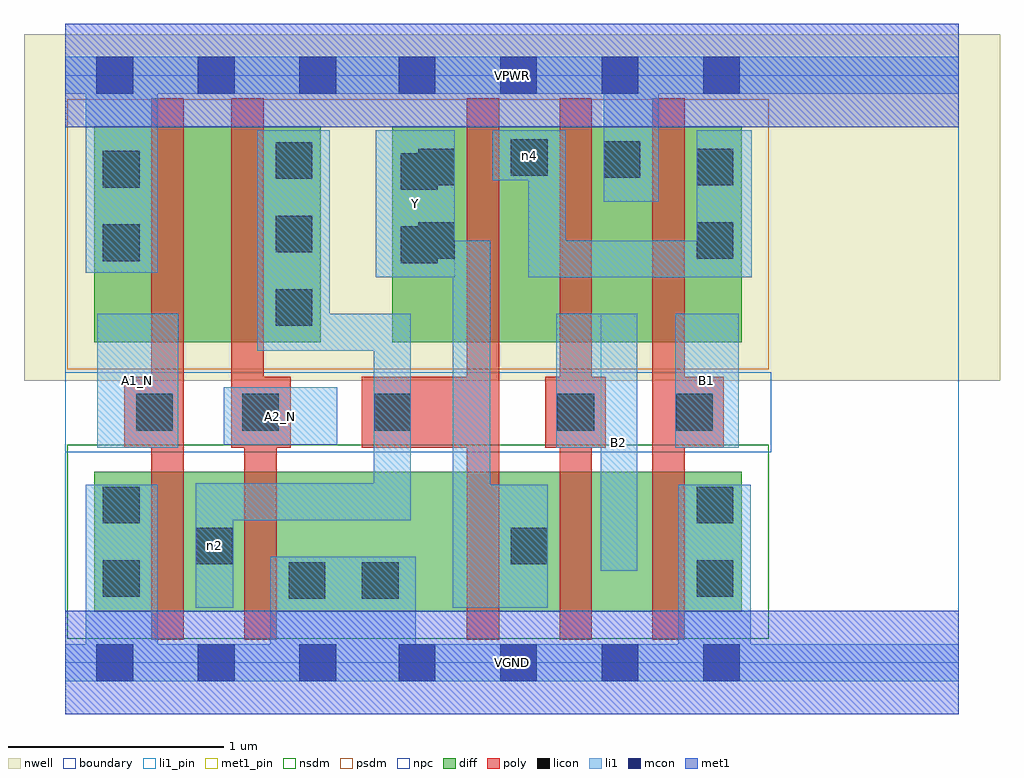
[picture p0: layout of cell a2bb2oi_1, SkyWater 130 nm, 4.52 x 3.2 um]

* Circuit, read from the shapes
.subckt a2bb2oi_1 A1_N A2_N B1 B2 VGND VPWR Y n2 n4
XM1 n2 A1_N VGND VSUBS sky130_fd_pr__nfet_01v8 w=0.65 l=0.15
XM2 VGND A2_N n2 VSUBS sky130_fd_pr__nfet_01v8 w=0.65 l=0.15
XM3 Y n2 VGND VSUBS sky130_fd_pr__nfet_01v8 w=0.65 l=0.15
XM4 n1 B2 Y VSUBS sky130_fd_pr__nfet_01v8 w=0.65 l=0.15
XM5 VGND B1 n1 VSUBS sky130_fd_pr__nfet_01v8 w=0.65 l=0.15
XM6 n3 A1_N VPWR n5 sky130_fd_pr__pfet_01v8 w=1 l=0.15
XM7 n2 A2_N n3 n5 sky130_fd_pr__pfet_01v8 w=1 l=0.15
XM8 n4 n2 Y n5 sky130_fd_pr__pfet_01v8 w=1 l=0.15
XM9 VPWR B2 n4 n5 sky130_fd_pr__pfet_01v8 w=1 l=0.15
XM10 n4 B1 VPWR n5 sky130_fd_pr__pfet_01v8 w=1 l=0.15
.ends

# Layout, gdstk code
import gdstk
lib = gdstk.Library(unit=1e-6, precision=1e-09)
def R(c, l, rs):  # rectangles x0, y0, x1, y1
    for r in rs: c.add(gdstk.rectangle(r[:2], r[2:], *l))
def A(c, l, x, y, w, h, nx, ny, dx, dy):  # array of equal rectangles
    R(c, l, [(x+i*dx, y+j*dy, x+i*dx+w, y+j*dy+h) for i in range(nx) for j in range(ny)])
nwell = (64, 20)
diff = (65, 20)
poly = (66, 20)
licon = (66, 44)
li1_pin = (67, 16)
li1 = (67, 20)
mcon = (67, 44)
met1_pin = (68, 16)
met1 = (68, 20)
nsdm = (93, 44)
psdm = (94, 20)
npc = (95, 20)
boundary = (235, 4)

a2bb2oi_1 = lib.new_cell('a2bb2oi_1')
R(a2bb2oi_1, nwell, [(-0.19,1.305,4.33,2.91), (0,1.305,4.14,2.91)])
R(a2bb2oi_1, diff, [(0.135,0.235,3.135,0.885), (0.135,1.485,1.185,2.485), (1.515,1.485,3.135,2.485)])
A(a2bb2oi_1, poly, 1.86, 0.105, 0.15, 2.51, 3, 1, 0.43, 0)
R(a2bb2oi_1, poly, [(0.4,0.105,0.55,2.615), (0.83,0.105,0.98,1.325), (0.275,0.995,0.55,1.325), (0.77,0.995,1.045,1.325), (0.77,0.995,0.92,2.615), (1.375,0.995,2.01,1.325), (2.225,0.995,2.505,1.325), (2.72,0.995,3.05,1.325)])
A(a2bb2oi_1, licon, 0.975, 1.56, 0.17, 0.17, 1, 3, 0, 0.34)
R(a2bb2oi_1, licon, [(1.035,0.295,1.205,0.465), (1.375,0.295,1.545,0.465), (0.175,0.305,0.345,0.475), (2.925,0.305,3.095,0.475), (0.605,0.455,0.775,0.625), (2.065,0.455,2.235,0.625), (0.175,0.645,0.345,0.815), (2.925,0.645,3.095,0.815), (0.33,1.075,0.5,1.245), (0.82,1.075,0.99,1.245), (1.43,1.075,1.6,1.245), (2.28,1.075,2.45,1.245), (2.83,1.075,3,1.245), (1.555,1.85,1.725,2.02), (0.175,1.86,0.345,2.03), (1.635,1.87,1.805,2.04), (2.925,1.87,3.095,2.04), (1.555,2.19,1.725,2.36), (0.175,2.2,0.345,2.37), (1.635,2.21,1.805,2.38), (2.925,2.21,3.095,2.38), (2.495,2.245,2.665,2.415), (2.065,2.255,2.235,2.425)])
R(a2bb2oi_1, li1_pin, [(2.48,0.425,2.65,1.615), (0.15,0.995,0.525,1.615), (2.825,0.995,3.12,1.615), (0.735,1.01,1.26,1.275), (1.44,1.785,1.805,2.465)])
R(a2bb2oi_1, li1, [(0,-0.085,4.14,0.085), (0.095,-0.085,0.43,0.825), (0.95,-0.085,1.625,0.49), (2.84,-0.085,3.175,0.825), (0.605,0.255,0.78,0.83), (1.795,0.255,1.97,1.955), (1.795,0.255,2.235,0.825), (2.48,0.425,2.65,1.615), (0.605,0.66,1.6,0.83), (1.43,0.66,1.6,1.615), (0.15,0.995,0.525,1.615), (2.275,0.995,2.65,1.615), (2.825,0.995,3.12,1.615), (0.735,1.01,1.26,1.275), (0.89,1.445,1.225,2.465), (0.89,1.445,1.6,1.615), (1.44,1.785,1.805,2.465), (2.145,1.785,3.18,1.955), (2.145,1.785,2.32,2.465), (2.925,1.785,3.18,2.465), (0.095,1.805,0.43,2.805), (2.495,2.135,2.75,2.805), (1.98,2.235,2.32,2.465), (0,2.635,4.14,2.805)])
A(a2bb2oi_1, mcon, 0.145, -0.085, 0.17, 0.17, 3, 2, 0.47, 2.72)
A(a2bb2oi_1, mcon, 1.545, -0.085, 0.17, 0.17, 4, 2, 0.47, 2.72)
R(a2bb2oi_1, met1_pin, [(0,-0.24,4.14,0.24), (0,2.48,4.14,2.96)])
R(a2bb2oi_1, met1, [(0,-0.24,4.14,0.24), (0,2.48,4.14,2.96)])
R(a2bb2oi_1, nsdm, [(0.01,0.11,3.26,1.01)])
R(a2bb2oi_1, psdm, [(0.01,1.36,3.26,2.61)])
R(a2bb2oi_1, npc, [(0,0.975,3.27,1.345)])
R(a2bb2oi_1, boundary, [(0,0,4.14,2.72)])
a2bb2oi_1.add(gdstk.Label('A1_N', (0.337,1.305), layer=67, texttype=5))
a2bb2oi_1.add(gdstk.Label('A2_N', (0.997,1.142), layer=67, texttype=5))
a2bb2oi_1.add(gdstk.Label('B1', (2.972,1.305), layer=67, texttype=5))
a2bb2oi_1.add(gdstk.Label('B2', (2.565,1.02), layer=67, texttype=5))
a2bb2oi_1.add(gdstk.Label('Y', (1.622,2.125), layer=67, texttype=5))
a2bb2oi_1.add(gdstk.Label('n2', (0.692,0.542), layer=67, texttype=5))
a2bb2oi_1.add(gdstk.Label('n4', (2.15,2.35), layer=67, texttype=5))
a2bb2oi_1.add(gdstk.Label('VPWR', (2.07,2.72), layer=68, texttype=5))
a2bb2oi_1.add(gdstk.Label('VGND', (2.07,0), layer=68, texttype=5))
a2bb2oi_1.add(gdstk.Label('A1_N', (0.337,1.305), layer=67, texttype=16))
a2bb2oi_1.add(gdstk.Label('A2_N', (0.997,1.142), layer=67, texttype=16))
a2bb2oi_1.add(gdstk.Label('B1', (2.972,1.305), layer=67, texttype=16))
a2bb2oi_1.add(gdstk.Label('B2', (2.565,1.02), layer=67, texttype=16))
a2bb2oi_1.add(gdstk.Label('Y', (1.622,2.125), layer=67, texttype=16))
a2bb2oi_1.add(gdstk.Label('VPWR', (2.07,2.72), layer=68, texttype=16))
a2bb2oi_1.add(gdstk.Label('VGND', (2.07,0), layer=68, texttype=16))

lib.write_gds('a2bb2oi_1.gds')
